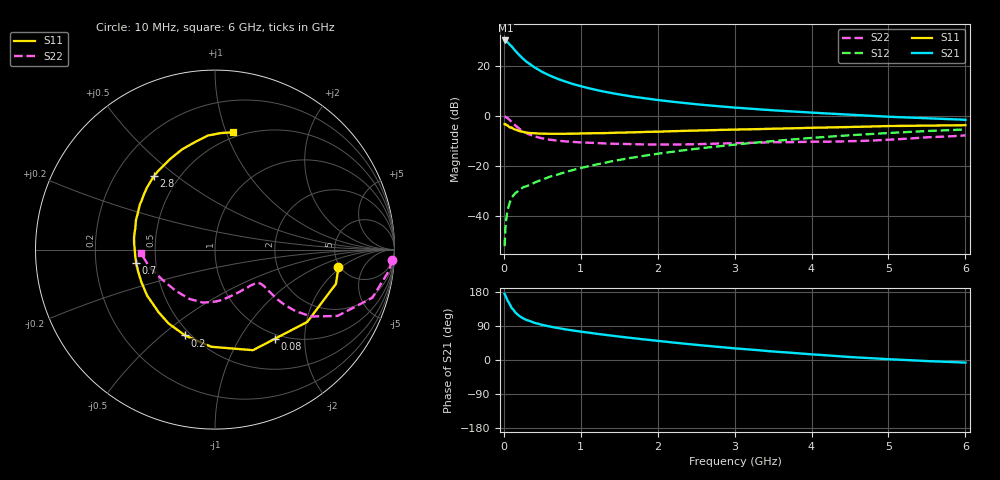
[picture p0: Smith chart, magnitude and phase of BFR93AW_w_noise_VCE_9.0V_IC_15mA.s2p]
! Infineon Technologies  Discrete & RF Semiconductors
! BFR93AW
! VCE =  9.0 V,  IC =  15 mA
! Common Emitter S-Parameters:  Jan 2017
# GHz  S  MA  R  50
!  f  S11  S21  S12  S22
! GHz  MAG  ANG  MAG  ANG  MAG  ANG  MAG  ANG
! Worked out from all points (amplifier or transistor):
!   77 points, 10 MHz to 6 GHz, reference 50 ohm
!   highest |S21| = 30.4 dB at 20 MHz (marker M1)
!   |S21| within 3 dB of that: start of sweep to 118.4 MHz
!   unconditionally stable (mu >= 1): 770.3 MHz to 2.071 GHz
!   at 130 MHz: K = 0.37, MSG = 29.2 dB, |S12| = -31.5 dB
!   at 2.2 GHz: K = 0.99, MSG = 10.0 dB, |S12| = -14.2 dB
!   at 6 GHz: K = 0.85, MSG = 1.9 dB, |S12| = -5.3 dB
!   lowest NFmin = 1.37 dB at 450 MHz
!   S11 on the Smith chart (normalised r, x): 10 MHz: 4.85, -1.81; 80 MHz: 0.93, -1.44; 200 MHz: 0.47, -0.60; 700 MHz: 0.39, -0.07; 2.8 GHz: 0.37, +0.42; 6 GHz: 0.45, +1.06
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0.01  0.6947 -8.0  32.85 174.6  0.0025 85.5  0.9889 -3.5
0.02  0.7005 -15.8  32.97 169.9  0.0057 85.6  0.9746 -7.2
0.05  0.6531 -38.1  30.38 156.2  0.0133 72.6  0.9169 -17.0
0.08  0.5984 -56.2  26.94 146.0  0.0192 66.0  0.8288 -23.4
0.1  0.599 -69.3  25.21 137.9  0.0232 63.5  0.7768 -28.4
0.15  0.5418 -92.2  20.46 125.3  0.029 57.2  0.6534 -34.8
0.2  0.5065 -109.2  16.83 116.5  0.0328 56.1  0.5634 -37.4
0.25  0.486 -122.2  14.19 109.9  0.0378 54.8  0.4987 -38.4
0.3  0.4697 -132.0  12.16 105.2  0.0399 55.1  0.452 -38.6
0.4  0.4568 -146.0  9.476 97.9  0.0468 57.7  0.3944 -37.9
0.5  0.4482 -156.3  7.703 92.6  0.054 59.9  0.3605 -37.2
0.6  0.4452 -164.0  6.503 88.2  0.0618 61.8  0.3389 -36.7
0.7  0.4453 -170.3  5.615 84.4  0.0679 63.7  0.3244 -36.6
0.9  0.4471 179.9  4.412 77.8  0.0839 65.3  0.3063 -37.6
1.1  0.4557 171.8  3.658 72.2  0.0999 66.5  0.2951 -39.9
1.5  0.4703 159.4  2.738 61.9  0.1331 67.0  0.2798 -47.0
2.1  0.4964 144.1  2.031 48.4  0.1863 64.8  0.2715 -62.8
2.8  0.5317 129.9  1.583 34.4  0.2509 60.2  0.2843 -83.6
3.1  0.5442 123.9  1.455 29.2  0.2797 57.7  0.2909 -92.0
4.1  0.5914 106.5  1.161 13.6  0.3776 48.2  0.3089 -120.4
5.1  0.6389 92.2  0.964 1.2  0.4704 37.1  0.3451 -154.0
6  0.6617 81.3  0.85 -6.9  0.5438 26.6  0.412 -177.0
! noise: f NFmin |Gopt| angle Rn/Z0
0.45  1.37  0.12  133  0.13
0.9  1.66  0.23  164  0.14
1.9  2.67  0.47  -144  0.2
2.4  3.3  0.54  -129  0.4
